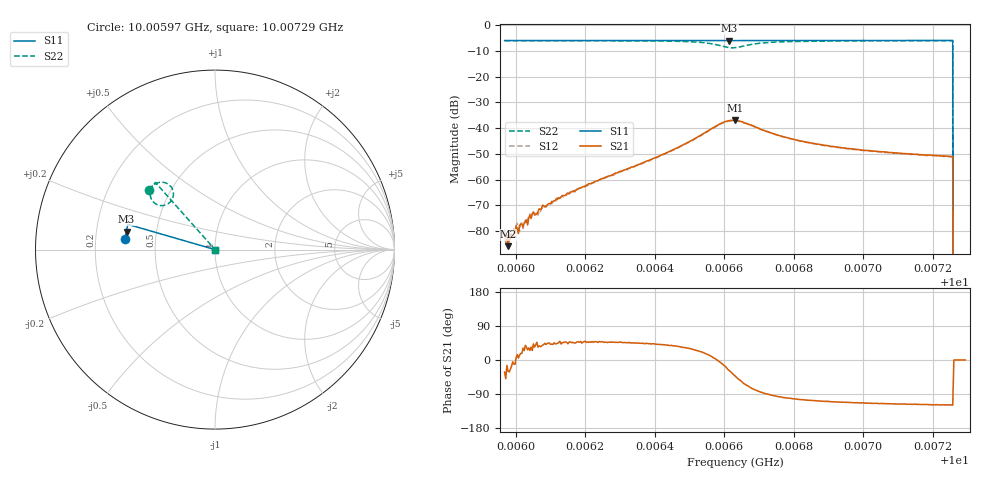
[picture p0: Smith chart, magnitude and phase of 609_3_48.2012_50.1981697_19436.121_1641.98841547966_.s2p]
#  HZ  S  RI  R  50.00
! Rohde & Schwarz Vector Network Analyzer
! Rohde-Schwarz,ZNB20-2Port,1311601062101988,3.16
! Created: UTC 3/20/2024, 12:03:20 PM
! freq[Hz]  re:S11  im:S11  re:S21  im:S21  re:S12  im:S12  re:S22  im:S22
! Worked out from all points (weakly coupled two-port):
!   401 points, 10.00597 GHz to 10.00729 GHz, reference 50 ohm
!   highest |S21| = -36.95 dB at 10.00663 GHz (marker M1); lowest = -85.9 dB at 10.00598 GHz (marker M2)
!   lowest |S11| = -6.0 dB at 10.00661 GHz (marker M3), VSWR 3.02, Z = 16.7 + j4.46 ohm
!   |S11| at or under -10 dB: 10.00726 GHz to end of sweep
!   |S22| runs from - to -6.0 dB; largest |S21 - S12| = 0.0011
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1.0005968e10  -0.4996 0.0586  7.5e-05 -4.71e-05  0.000103 -3.79e-05  -0.3697 0.3341
1.0005978e10  -0.4995 0.0592  4.41e-05 -2.52e-05  6.15e-05 1.16e-05  -0.3692 0.3348
1.0006002e10  -0.4993 0.0606  0.000125 1.24e-05  0.000126 3.06e-06  -0.3678 0.3362
1.0006015e10  -0.4991 0.0616  0.00013 4.04e-05  0.000111 8.62e-05  -0.3672 0.337
1.0006028e10  -0.4991 0.0625  0.000115 9.24e-05  0.000136 8.97e-05  -0.3663 0.3381
1.0006045e10  -0.499 0.0635  0.000146 9.8e-05  0.000166 0.000102  -0.3654 0.339
1.0006065e10  -0.4989 0.0648  0.000199 0.000135  0.000167 0.000116  -0.364 0.3404
1.0006074e10  -0.4987 0.0655  0.000218 0.000162  0.00021 0.000184  -0.3635 0.3411
1.0006128e10  -0.4983 0.0689  0.000281 0.000328  0.000294 0.000286  -0.36 0.3449
1.000619e10  -0.4979 0.0731  0.000506 0.000498  0.000456 0.000541  -0.3553 0.3494
1.0006412e10  -0.4959 0.0875  0.00213 0.00188  0.00204 0.00197  -0.3271 0.3692
1.0006545e10  -0.4941 0.0962  0.00782 0.00251  0.00748 0.00283  -0.2668 0.3683
1.0006591e10  -0.4931 0.099  0.0122 -0.0017  0.0122 -0.00112  -0.2323 0.3211
1.0006615e10  -0.4926 0.0998  0.0124 -0.00651  0.0125 -0.00557  -0.2399 0.2778
1.0006631e10  -0.4925 0.1005  0.0105 -0.00951  0.0109 -0.00858  -0.2636 0.2539
1.0006704e10  -0.4926 0.105  0.000879 -0.0095  0.0014 -0.0094  -0.3518 0.2764
1.0006767e10  -0.4922 0.1092  -0.00101 -0.00682  -0.000626 -0.00679  -0.3615 0.31
1.0006853e10  -0.4912 0.1149  -0.00148 -0.00488  -0.00123 -0.00484  -0.3575 0.3337
1.0007075e10  -0.4882 0.1292  -0.00144 -0.00304  -0.00128 -0.00305  -0.3425 0.361
1.0007251e10  -0.4855 0.1401  -0.00133 -0.00247  -0.00125 -0.00249  -0.3322 0.3735
1.0007267e10  0 0  0 0  0 0  0 0
1.0007294e10  0 0  0 0  0 0  0 0
